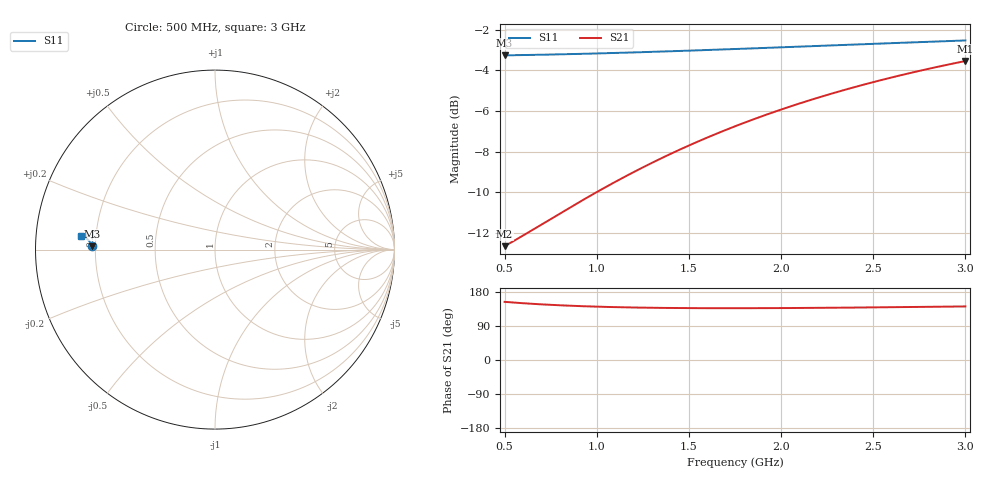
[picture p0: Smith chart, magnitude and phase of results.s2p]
! rfsim (KiCad + openEMS)
# HZ S RI R 50
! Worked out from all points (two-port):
!   251 points, 500 MHz to 3 GHz, reference 50 ohm
!   highest |S21| = -3.54 dB at 3 GHz (marker M1); lowest = -12.7 dB at 500 MHz (marker M2)
!   |S21| within 3 dB of the highest: 1.812 GHz to end of sweep
!   lowest |S11| = -3.3 dB at 500 MHz (marker M3), VSWR 5.39, Z = 9.27 + j0.67 ohm
!   |S11| at or under -10 dB: nowhere
!   S12 and S22 are empty: the file has one direction only
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5e8  -0.687 0.0191  -0.2084 0.1043  0 0  0 0
6e8  -0.688 0.0227  -0.214 0.1244  0 0  0 0
7.1e8  -0.6893 0.0267  -0.2212 0.146  0 0  0 0
8.1e8  -0.6907 0.0302  -0.2287 0.1652  0 0  0 0
9.2e8  -0.6924 0.034  -0.2379 0.1858  0 0  0 0
1.03e9  -0.6942 0.0376  -0.2481 0.2056  0 0  0 0
1.13e9  -0.6961 0.0408  -0.2582 0.223  0 0  0 0
1.24e9  -0.6982 0.0441  -0.2701 0.2414  0 0  0 0
1.34e9  -0.7003 0.0471  -0.2816 0.2574  0 0  0 0
1.44e9  -0.7026 0.0499  -0.2937 0.2728  0 0  0 0
1.54e9  -0.7049 0.0525  -0.3063 0.2873  0 0  0 0
1.64e9  -0.7073 0.0551  -0.3194 0.3012  0 0  0 0
1.75e9  -0.71 0.0577  -0.3343 0.3155  0 0  0 0
1.85e9  -0.7125 0.0599  -0.3483 0.3278  0 0  0 0
1.96e9  -0.7154 0.0622  -0.364 0.3403  0 0  0 0
2.06e9  -0.7181 0.0642  -0.3785 0.3509  0 0  0 0
2.17e9  -0.721 0.0662  -0.3948 0.3618  0 0  0 0
2.27e9  -0.7238 0.0678  -0.4097 0.3708  0 0  0 0
2.38e9  -0.7268 0.0695  -0.4263 0.3799  0 0  0 0
2.59e9  -0.7326 0.0722  -0.4582 0.3948  0 0  0 0
2.79e9  -0.7382 0.0743  -0.4885 0.4062  0 0  0 0
3e9  -0.7439 0.076  -0.5201 0.4153  0 0  0 0
